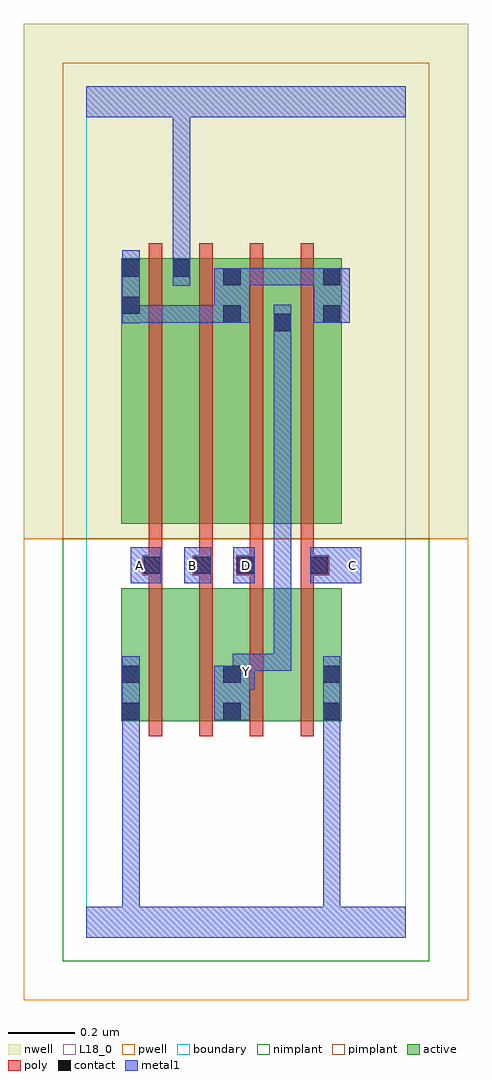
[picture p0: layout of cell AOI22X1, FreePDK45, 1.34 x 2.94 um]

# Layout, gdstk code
import gdstk
lib = gdstk.Library(unit=1e-6, precision=1e-09)
def R(c, l, rs):  # rectangles x0, y0, x1, y1
    for r in rs: c.add(gdstk.rectangle(r[:2], r[2:], *l))
def A(c, l, x, y, w, h, nx, ny, dx, dy):  # array of equal rectangles
    R(c, l, [(x+i*dx, y+j*dy, x+i*dx+w, y+j*dy+h) for i in range(nx) for j in range(ny)])
active = (1, 0)
pwell = (2, 0)
nwell = (3, 0)
nimplant = (4, 0)
pimplant = (5, 0)
poly = (9, 0)
contact = (10, 0)
metal1 = (11, 0)
L18_0 = (18, 0)
boundary = (235, 0)

aoi22x1 = lib.new_cell('AOI22X1')
A(aoi22x1, active, 0.104, 1.244, 0.212, 0.8, 3, 1, 0.152, 0)
A(aoi22x1, active, 0.256, 1.686, 0.06, 0.358, 3, 1, 0.152, 0)
R(aoi22x1, active, [(0.104,0.65,0.164,1.05), (0.104,0.65,0.284,1.05), (0.284,0.65,0.468,1.05), (0.408,0.65,0.588,1.05), (0.408,0.65,0.468,0.842), (0.588,0.65,0.768,1.05), (0.708,0.65,0.768,1.05), (0.104,1.244,0.164,2.044), (0.56,1.244,0.768,2.044), (0.708,1.244,0.768,2.044)])
R(aoi22x1, pwell, [(-0.188,-0.188,1.148,1.2)])
R(aoi22x1, nwell, [(-0.188,1.2,1.148,2.748)])
R(aoi22x1, nimplant, [(-0.072,-0.072,1.032,1.2)])
R(aoi22x1, pimplant, [(-0.072,1.2,1.032,2.632)])
A(aoi22x1, poly, 0.188, 0.606, 0.04, 0.488, 4, 1, 0.152, 0)
A(aoi22x1, poly, 0.188, 1.054, 0.04, 0.076, 4, 1, 0.152, 0)
A(aoi22x1, poly, 0.188, 1.11, 0.04, 0.13, 4, 1, 0.152, 0)
A(aoi22x1, poly, 0.188, 1.2, 0.04, 0.888, 4, 1, 0.152, 0)
R(aoi22x1, poly, [(0.168,1.09,0.228,1.15), (0.32,1.09,0.38,1.15), (0.34,1.09,0.38,1.13), (0.34,1.09,0.38,1.13), (0.45,1.09,0.532,1.15), (0.492,1.09,0.532,1.13), (0.492,1.09,0.532,1.13), (0.644,1.09,0.684,1.13), (0.644,1.09,0.684,1.13), (0.644,1.09,0.73,1.15), (0.188,1.11,0.228,1.15), (0.188,1.11,0.228,1.15)])
R(aoi22x1, contact, [(0.108,0.654,0.16,0.706), (0.412,0.654,0.464,0.706), (0.712,0.654,0.764,0.706), (0.108,0.766,0.16,0.818), (0.412,0.766,0.464,0.818), (0.712,0.766,0.764,0.818), (0.172,1.094,0.224,1.146), (0.324,1.094,0.376,1.146), (0.454,1.094,0.506,1.146), (0.674,1.094,0.726,1.146), (0.564,1.824,0.616,1.876), (0.412,1.85,0.464,1.902), (0.712,1.85,0.764,1.902), (0.108,1.876,0.16,1.928), (0.412,1.962,0.464,2.014), (0.712,1.962,0.764,2.014), (0.108,1.988,0.16,2.04), (0.26,1.988,0.312,2.04)])
R(aoi22x1, metal1, [(0,0,0.96,0.092), (0.108,0.04,0.16,0.092), (0.108,0.04,0.16,0.092), (0.108,0.04,0.16,0.092), (0.108,0.04,0.16,0.092), (0.108,0.04,0.16,0.092), (0.108,0.04,0.16,0.092), (0.108,0.04,0.16,0.092), (0.108,0.04,0.16,0.092), (0.108,0.04,0.16,0.092), (0.108,0.04,0.16,0.092), (0.108,0.04,0.16,0.678), (0.712,0.04,0.764,0.092), (0.712,0.04,0.764,0.092), (0.712,0.04,0.764,0.092), (0.712,0.04,0.764,0.092), (0.712,0.04,0.764,0.092), (0.712,0.04,0.764,0.092), (0.712,0.04,0.764,0.092), (0.712,0.04,0.764,0.092), (0.712,0.04,0.764,0.092), (0.712,0.04,0.764,0.092), (0.712,0.04,0.764,0.092), (0.712,0.04,0.764,0.092), (0.712,0.04,0.764,0.678), (0.108,0.626,0.16,0.678), (0.108,0.626,0.16,0.678), (0.108,0.626,0.16,0.846), (0.712,0.626,0.764,0.846), (0.384,0.654,0.492,0.818), (0.44,0.746,0.506,0.854), (0.44,0.766,0.492,0.818), (0.454,0.802,0.506,0.854), (0.454,0.802,0.506,0.854), (0.454,0.802,0.616,0.854), (0.564,0.802,0.616,0.854), (0.564,0.802,0.616,0.854), (0.564,0.802,0.616,0.854), (0.564,0.802,0.616,1.848), (0.134,1.066,0.224,1.174), (0.294,1.066,0.376,1.174), (0.442,1.066,0.506,1.174), (0.674,1.066,0.826,1.174), (0.564,1.796,0.616,1.904), (0.108,1.848,0.16,2.068), (0.108,1.85,0.16,1.902), (0.108,1.85,0.16,1.902), (0.108,1.85,0.326,1.902), (0.274,1.85,0.326,1.902), (0.274,1.85,0.326,1.902), (0.274,1.85,0.326,1.902), (0.274,1.85,0.436,1.902), (0.384,1.85,0.492,2.014), (0.684,1.85,0.792,2.014), (0.26,1.96,0.312,2.068), (0.44,1.962,0.492,2.014), (0.44,1.962,0.492,2.014), (0.44,1.962,0.616,2.014), (0.564,1.962,0.616,2.014), (0.564,1.962,0.616,2.014), (0.564,1.962,0.616,2.014), (0.564,1.962,0.736,2.014), (0.684,1.962,0.736,2.014), (0.684,1.962,0.736,2.014), (0.26,2.016,0.312,2.068), (0.26,2.016,0.312,2.068), (0.26,2.016,0.312,2.52), (0,2.468,0.96,2.56), (0.26,2.468,0.312,2.52), (0.26,2.468,0.312,2.52), (0.26,2.468,0.312,2.52), (0.26,2.468,0.312,2.52), (0.26,2.468,0.312,2.52), (0.26,2.468,0.312,2.52)])
A(aoi22x1, L18_0, 0.134, 1.094, 0.052, 0.052, 3, 1, 0.16, 0)
R(aoi22x1, L18_0, [(0,0,0.96,0.092), (0.108,0.04,0.16,0.092), (0.108,0.04,0.16,0.092), (0.108,0.04,0.16,0.092), (0.108,0.04,0.16,0.092), (0.108,0.04,0.16,0.092), (0.108,0.04,0.16,0.092), (0.108,0.04,0.16,0.092), (0.108,0.04,0.16,0.092), (0.108,0.04,0.16,0.092), (0.108,0.04,0.16,0.092), (0.108,0.04,0.16,0.678), (0.712,0.04,0.764,0.092), (0.712,0.04,0.764,0.092), (0.712,0.04,0.764,0.092), (0.712,0.04,0.764,0.092), (0.712,0.04,0.764,0.092), (0.712,0.04,0.764,0.092), (0.712,0.04,0.764,0.092), (0.712,0.04,0.764,0.092), (0.712,0.04,0.764,0.092), (0.712,0.04,0.764,0.092), (0.712,0.04,0.764,0.092), (0.712,0.04,0.764,0.092), (0.712,0.04,0.764,0.678), (0.108,0.626,0.16,0.678), (0.108,0.626,0.16,0.678), (0.108,0.626,0.16,0.846), (0.712,0.626,0.764,0.846), (0.384,0.654,0.492,0.818), (0.44,0.746,0.506,0.854), (0.44,0.766,0.492,0.818), (0.454,0.774,0.506,0.826), (0.454,0.802,0.506,0.854), (0.454,0.802,0.506,0.854), (0.454,0.802,0.616,0.854), (0.564,0.802,0.616,0.854), (0.564,0.802,0.616,0.854), (0.564,0.802,0.616,0.854), (0.564,0.802,0.616,1.848), (0.134,1.066,0.224,1.174), (0.294,1.066,0.376,1.174), (0.442,1.066,0.506,1.174), (0.674,1.066,0.826,1.174), (0.774,1.094,0.826,1.146), (0.564,1.796,0.616,1.904), (0.26,1.96,0.312,2.068), (0.26,2.016,0.312,2.068), (0.26,2.016,0.312,2.068), (0.26,2.016,0.312,2.52), (0,2.468,0.96,2.56), (0.26,2.468,0.312,2.52), (0.26,2.468,0.312,2.52), (0.26,2.468,0.312,2.52), (0.26,2.468,0.312,2.52), (0.26,2.468,0.312,2.52), (0.26,2.468,0.312,2.52)])
R(aoi22x1, boundary, [(0,0,0.96,2.56)])
aoi22x1.add(gdstk.Label('A', (0.16,1.12), layer=11, texttype=0))
aoi22x1.add(gdstk.Label('B', (0.32,1.12), layer=11, texttype=0))
aoi22x1.add(gdstk.Label('C', (0.8,1.12), layer=11, texttype=0))
aoi22x1.add(gdstk.Label('D', (0.48,1.12), layer=11, texttype=0))
aoi22x1.add(gdstk.Label('Y', (0.48,0.8), layer=11, texttype=0))

lib.write_gds('AOI22X1.gds')
